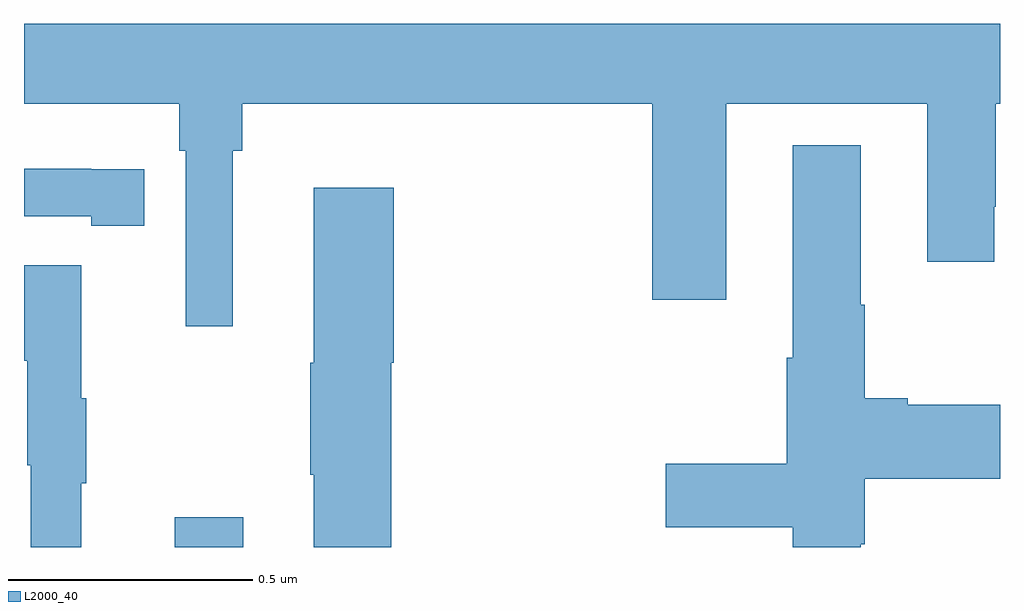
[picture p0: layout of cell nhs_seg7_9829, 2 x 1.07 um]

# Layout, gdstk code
import gdstk
lib = gdstk.Library(unit=1e-6, precision=1e-09)
def R(c, l, rs):  # rectangles x0, y0, x1, y1
    for r in rs: c.add(gdstk.rectangle(r[:2], r[2:], *l))
def P(c, l, *ps):  # polygons
    for p in ps: c.add(gdstk.Polygon(p, *l))
L2000_40 = (2000, 40)

nhs_seg7_9829 = lib.new_cell('nhs_seg7_9829')
R(nhs_seg7_9829, L2000_40, [(242.309,1041,242.449,1041.061)])
P(nhs_seg7_9829, L2000_40, [(242.428,1041.812),(242.447,1041.812),(242.447,1041.908),(243.287,1041.908),(243.287,1041.507),(243.439,1041.507),(243.439,1041.908),(243.851,1041.908),(243.851,1041.585),(243.988,1041.585),(243.988,1041.697),(243.991,1041.697),(243.991,1041.908),(244,1041.908),(244,1042.072),(242,1042.072),(242,1041.908),(242.318,1041.908),(242.318,1041.812),(242.331,1041.812),(242.331,1041.453),(242.428,1041.453)],
  [(243.715,1041.006),(243.723,1041.006),(243.723,1041.14),(244,1041.14),(244,1041.292),(243.811,1041.292),(243.811,1041.305),(243.723,1041.305),(243.723,1041.497),(243.715,1041.497),(243.715,1041.823),(243.575,1041.823),(243.575,1041.388),(243.563,1041.388),(243.563,1041.171),(243.315,1041.171),(243.315,1041.041),(243.575,1041.041),(243.575,1041),(243.715,1041)],
  [(242.246,1041.774),(242.138,1041.774),(242.138,1041.775),(242,1041.775),(242,1041.678),(242.138,1041.678),(242.138,1041.658),(242.246,1041.658)],
  [(242.753,1041.378),(242.758,1041.378),(242.758,1041.736),(242.594,1041.736),(242.594,1041.378),(242.587,1041.378),(242.587,1041.148),(242.594,1041.148),(242.594,1041),(242.753,1041)],
  [(242.117,1041.131),(242.128,1041.131),(242.128,1041.305),(242.117,1041.305),(242.117,1041.577),(242,1041.577),(242,1041.382),(242.007,1041.382),(242.007,1041.168),(242.014,1041.168),(242.014,1041),(242.117,1041)])

lib.write_gds('nhs_seg7_9829.gds')
